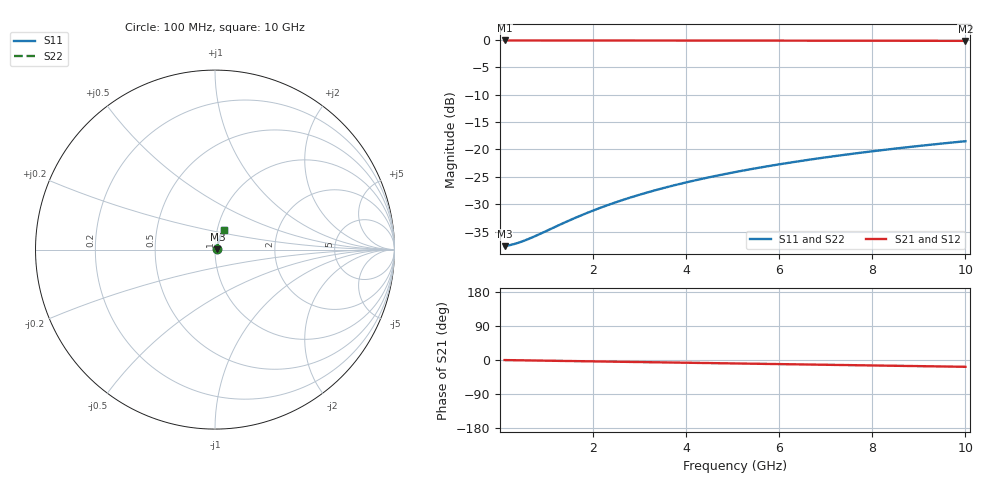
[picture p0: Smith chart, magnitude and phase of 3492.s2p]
# Hz S RI R 50.00
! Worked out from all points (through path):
!   100 points, 100 MHz to 10 GHz, reference 50 ohm
!   highest |S21| = -0.11 dB at 100 MHz (marker M1); lowest = -0.2 dB at 10 GHz (marker M2)
!   group delay of S21, straight-line fit = 4.99 ps
!   lowest |S11| = -37.6 dB at 100 MHz (marker M3), VSWR 1.03, Z = 51.3 + j0.12 ohm
!   |S11| at or under -10 dB: start of sweep to end of sweep
!   |S22| runs from -37.6 to -18.5 dB; largest |S21 - S12| = 0
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1e8  0.0131 0.00117  0.9869 -0.00311  0.9869 -0.00311  0.0131 0.00117
2e8  0.0132 0.00233  0.9868 -0.00621  0.9868 -0.00621  0.0132 0.00233
3e8  0.0132 0.0035  0.9867 -0.00932  0.9867 -0.00932  0.0132 0.0035
4e8  0.0133 0.00466  0.9866 -0.0124  0.9866 -0.0124  0.0133 0.00466
6e8  0.0135 0.00699  0.9864 -0.0186  0.9864 -0.0186  0.0135 0.00699
8e8  0.0136 0.00932  0.9862 -0.0248  0.9862 -0.0248  0.0136 0.00932
1.4e9  0.0143 0.0163  0.9853 -0.0434  0.9853 -0.0434  0.0143 0.0163
1.8e9  0.0148 0.0209  0.9845 -0.0558  0.9845 -0.0558  0.0148 0.0209
2.2e9  0.0155 0.0255  0.9836 -0.0682  0.9836 -0.0682  0.0155 0.0255
2.6e9  0.0162 0.0301  0.9824 -0.0805  0.9824 -0.0805  0.0162 0.0301
3e9  0.0171 0.0347  0.9811 -0.0929  0.9811 -0.0929  0.0171 0.0347
3.4e9  0.0181 0.0392  0.9797 -0.1052  0.9797 -0.1052  0.0181 0.0392
3.8e9  0.0192 0.0437  0.978 -0.1174  0.978 -0.1174  0.0192 0.0437
4.2e9  0.0204 0.0482  0.9762 -0.1297  0.9762 -0.1297  0.0204 0.0482
4.6e9  0.0217 0.0527  0.9742 -0.1419  0.9742 -0.1419  0.0217 0.0527
5.1e9  0.0235 0.0582  0.9715 -0.1571  0.9715 -0.1571  0.0235 0.0582
5.9e9  0.0268 0.0669  0.9665 -0.1813  0.9665 -0.1813  0.0268 0.0669
6.7e9  0.0304 0.0754  0.9609 -0.2053  0.9609 -0.2053  0.0304 0.0754
7.5e9  0.0345 0.0837  0.9547 -0.229  0.9547 -0.229  0.0345 0.0837
8.4e9  0.0396 0.0927  0.9469 -0.2555  0.9469 -0.2555  0.0396 0.0927
9.2e9  0.0445 0.1005  0.9392 -0.2787  0.9392 -0.2787  0.0445 0.1005
1e10  0.0498 0.108  0.931 -0.3017  0.931 -0.3017  0.0498 0.108
